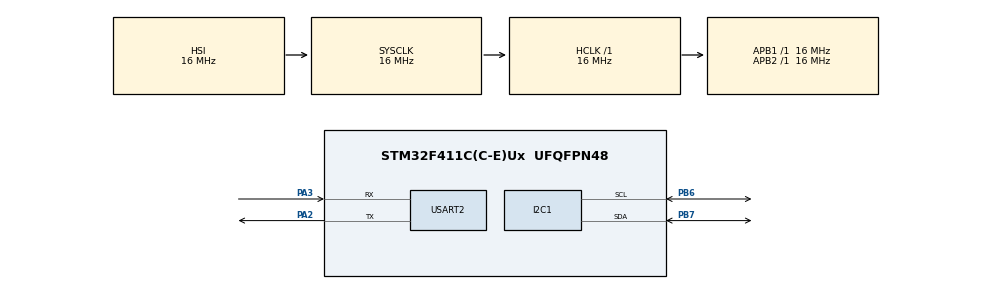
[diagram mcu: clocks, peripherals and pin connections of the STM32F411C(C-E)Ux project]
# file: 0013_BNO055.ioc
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Mcu.Family=STM32F4
Mcu.Name=STM32F411C(C-E)Ux
Mcu.Package=UFQFPN48
NVIC.PriorityGroup=NVIC_PRIORITYGROUP_4
PA2.Mode=Asynchronous
PA2.Signal=USART2_TX
PA3.Mode=Asynchronous
PA3.Signal=USART2_RX
PB6.GPIO_Pu=GPIO_PULLUP
PB6.Mode=I2C
PB6.Signal=I2C1_SCL
PB7.GPIO_Pu=GPIO_PULLUP
PB7.Mode=I2C
PB7.Signal=I2C1_SDA
ProjectManager.HeapSize=0x200
ProjectManager.StackSize=0x400
ProjectManager.TargetToolchain=STM32CubeIDE
RCC.AHBFreq_Value=16000000
RCC.APB1Freq_Value=16000000
RCC.APB1TimFreq_Value=16000000
RCC.APB2Freq_Value=16000000
RCC.APB2TimFreq_Value=16000000
RCC.CortexFreq_Value=16000000
RCC.HCLKFreq_Value=16000000
RCC.HSE_VALUE=25000000
RCC.HSI_VALUE=16000000
RCC.LSE_VALUE=32768
RCC.SYSCLKFreq_VALUE=16000000
RCC.VCOOutputFreq_Value=192000000
USART2.VirtualMode=VM_ASYNC
board=custom

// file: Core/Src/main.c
/* USER CODE BEGIN Header */
/**
  ******************************************************************************
  * @file           : main.c
  * @brief          : Main program body
  ******************************************************************************
  * @attention
  *
  * Copyright (c) 2026 STMicroelectronics.
  * All rights reserved.
  *
  * This software is licensed under terms that can be found in the LICENSE file
  * in the root directory of this software component.
  * If no LICENSE file comes with this software, it is provided AS-IS.
  *
  ******************************************************************************
  */
/* USER CODE END Header */
#include "main.h"

/* USER CODE BEGIN Includes */
#include <stdio.h>
#include <string.h>
/* USER CODE END Includes */

I2C_HandleTypeDef hi2c1;

UART_HandleTypeDef huart2;

/* USER CODE BEGIN PV */
uint8_t const BNO055Addr = 0X28;				 	//Address
uint8_t const BNO055I2CAddr = BNO055Addr << 1;	//Address
uint8_t const BNO055MemAddr = 0X00;				//Address
uint8_t BNO055IDValue = 0xA0;

uint8_t BNO055OprModeRegAddr = 0X3D;		//Address
uint8_t BNO055ConfigMode = 0X00;
uint8_t BNO055NDOFMode = 0X0C;

#define dataSize 6
uint8_t const BNO055EulerAnchorAddr = 0X1A;		//Address
uint8_t rawData[dataSize];
int16_t rawH, rawR, rawP;
float heading, roll, pitch;
char UART_Buffer[100];

uint8_t const resetCommandTrigRegAddr = 0X3F;
uint8_t resetCommand = 0X20;

uint8_t const callibrationStatusRegAddr = 0x35;
uint8_t callibrationByte = 0;
uint8_t const systemCallibrationLevel = 3;
uint8_t const gyroCallibrationLevel = 3;
uint8_t const magnetoCallibrationLevel = 2;
/* USER CODE END PV */

void SystemClock_Config(void);
static void MX_GPIO_Init(void);
static void MX_I2C1_Init(void);
static void MX_USART2_UART_Init(void);

/* USER CODE BEGIN 0 */
void BNO055Calibrate(void) {
    uint8_t sys = 0, gyro = 0, accel = 0, mag = 0;
    char cal_msg[100];

    uint32_t startTime = HAL_GetTick();
    uint32_t timeoutValue = 10000;

    // We wait until System and Gyroscope are fully calibrated (3)
    // and Magnetometer is at least partially calibrated (>0)
    while (sys < systemCallibrationLevel || gyro < gyroCallibrationLevel || mag < magnetoCallibrationLevel) {
        // Read Register 0x35
    	if ((HAL_GetTick() - startTime) > timeoutValue) {
    		sprintf(cal_msg, "!!! CALIBRATION TIMEOUT - Starting with partial data !!!\r\n");
    		HAL_UART_Transmit(&huart2, (uint8_t*)cal_msg, strlen(cal_msg), 100);
    		break; // Exit the while loop
    	        }

    	HAL_StatusTypeDef callibrationStatus = HAL_I2C_Mem_Read(&hi2c1, BNO055I2CAddr, callibrationStatusRegAddr, I2C_MEMADD_SIZE_8BIT, &callibrationByte, sizeof(callibrationByte), HAL_MAX_DELAY);
        if (callibrationStatus == HAL_OK) {

            // Bit masking to extract 2-bit values
            mag   = callibrationByte & 0x03;
            accel = (callibrationByte >> 2) & 0x03;
            gyro  = (callibrationByte >> 4) & 0x03;
            sys   = (callibrationByte >> 6) & 0x03;

            sprintf(cal_msg, "CALIBRATING... [S:%d G:%d A:%d M:%d] - DO THE DANCE!\r\n", sys, gyro, accel, mag);
            HAL_UART_Transmit(&huart2, (uint8_t*)cal_msg, strlen(cal_msg), HAL_MAX_DELAY);
        } else {
            sprintf(cal_msg, "I2C Error during calibration check!\r\n");
            HAL_UART_Transmit(&huart2, (uint8_t*)cal_msg, strlen(cal_msg), HAL_MAX_DELAY);
        }

        HAL_Delay(500); // Check every 500ms
    }

    sprintf(cal_msg, ">>> SENSOR CALIBRATED & READY <<<\r\n");
    HAL_UART_Transmit(&huart2, (uint8_t*)cal_msg, strlen(cal_msg), HAL_MAX_DELAY);
}
/* USER CODE END 0 */

int main(void)
{

  /* MCU Configuration--------------------------------------------------------*/

  /* Reset of all peripherals, Initializes the Flash interface and the Systick. */
  HAL_Init();

  /* Configure the system clock */
  SystemClock_Config();

  /* Initialize all configured peripherals */
  MX_GPIO_Init();
  MX_I2C1_Init();
  MX_USART2_UART_Init();
  /* USER CODE BEGIN 2 */

  uint8_t chipID = 0;
  char msg[50];

  HAL_StatusTypeDef Status = HAL_I2C_Mem_Read(&hi2c1, BNO055I2CAddr, BNO055MemAddr, I2C_MEMADD_SIZE_8BIT, &chipID, sizeof(chipID), HAL_MAX_DELAY);

  if (Status == HAL_OK && chipID == BNO055IDValue) {
	  sprintf(msg, "BNO055 Found! ID: 0x%02X\r\n", chipID);
  }
  else{
	  sprintf(msg, "BNO055 Not Found. Error or ID: 0x%02X\r\n", chipID);
  }

  HAL_UART_Transmit(&huart2, (uint8_t*)msg, strlen(msg), 100);
//  Entering the Config Mode
  HAL_I2C_Mem_Write(&hi2c1, BNO055I2CAddr, BNO055OprModeRegAddr, I2C_MEMADD_SIZE_8BIT, &BNO055ConfigMode, sizeof(BNO055ConfigMode), HAL_MAX_DELAY);
  HAL_Delay(20);		//Specific delay mentioned for Config Mode according to the BNO055 Data sheet
  uint8_t powerNormal = 0x00;
  HAL_I2C_Mem_Write(&hi2c1, BNO055I2CAddr, 0x3E, I2C_MEMADD_SIZE_8BIT, &powerNormal, 1, HAL_MAX_DELAY);
  HAL_Delay(10);
  HAL_I2C_Mem_Write(&hi2c1, BNO055I2CAddr, BNO055OprModeRegAddr, I2C_MEMADD_SIZE_8BIT, &BNO055NDOFMode, sizeof(BNO055NDOFMode), HAL_MAX_DELAY);
  HAL_Delay(10);		//Specific delay mentioned for NDOF Mode according to the BNO055 Data sheet

//  HAL_Delay(2000);

  BNO055Calibrate();
  //  BNO055 Callibration
  HAL_Delay(2000);
  /* USER CODE END 2 */

  /* Infinite loop */
  while (1)
  {

    /* USER CODE BEGIN 3 */
	  HAL_StatusTypeDef readStatus = HAL_I2C_Mem_Read(&hi2c1, BNO055I2CAddr, BNO055EulerAnchorAddr, I2C_MEMADD_SIZE_8BIT, rawData, dataSize, HAL_MAX_DELAY);
	  if(readStatus == HAL_OK){
		  rawH = (int16_t)((rawData[1] << 8) | rawData[0]);
		  rawR = (int16_t)((rawData[3] << 8) | rawData[2]);
		  rawP = (int16_t)((rawData[5] << 8) | rawData[4]);

		  heading = (float) rawH / 16.0f;
		  roll = (float) rawR / 16.0f;
		  pitch = (float) rawP / 16.0f;

		  sprintf(UART_Buffer, "H: %f | R: %f | P: %f\r\n", heading, roll, pitch);
		  HAL_UART_Transmit(&huart2, (uint8_t*)UART_Buffer, strlen(UART_Buffer), 10);
	  }
	  else {
	      // REINITIALIZATION LOGIC
	      sprintf(msg, "BNO055 Not Found. Attempting Reset...\r\n");
	      HAL_UART_Transmit(&huart2, (uint8_t*)msg, strlen(msg), 100);
	      HAL_Delay(200);

	      // Reinitializing I2C Peripheral
	      HAL_I2C_Init(&hi2c1);
	      // Write to SYS_TRIGGER (0x3F)
	      HAL_I2C_Mem_Write(&hi2c1, BNO055I2CAddr, resetCommandTrigRegAddr, I2C_MEMADD_SIZE_8BIT, &resetCommand, sizeof(resetCommand), 100);
	      // Critical Delay: The data sheet says wait 650ms after reset
	      HAL_Delay(700);

	      // Reinitializing config mode
	      HAL_I2C_Mem_Write(&hi2c1, BNO055I2CAddr, BNO055OprModeRegAddr, I2C_MEMADD_SIZE_8BIT, &BNO055ConfigMode, sizeof(BNO055ConfigMode), HAL_MAX_DELAY);
	      HAL_Delay(20);		//Specific delay mentioned for Config Mode according to the BNO055 Data sheet
	      HAL_I2C_Mem_Write(&hi2c1, BNO055I2CAddr, BNO055OprModeRegAddr, I2C_MEMADD_SIZE_8BIT, &BNO055NDOFMode, sizeof(BNO055NDOFMode), HAL_MAX_DELAY);
	      HAL_Delay(10);		//Specific delay mentioned for NDOF Mode according to the BNO055 Data sheet

	      // Second Attempt
	      HAL_StatusTypeDef status = HAL_I2C_Mem_Read(&hi2c1, BNO055I2CAddr, BNO055MemAddr, I2C_MEMADD_SIZE_8BIT, &chipID, 1, HAL_MAX_DELAY);

	      if (status == HAL_OK && chipID == BNO055IDValue) {
	          sprintf(msg, "BNO055 Recovered! ID: 0x%02X\r\n", chipID);
	      } else {
	          sprintf(msg, "BNO055 Hard Failure. Check Wiring/Power.\r\n");
	          // Optional: Stay here or enter Error_Handler()
	      }
	      HAL_UART_Transmit(&huart2, (uint8_t*)msg, strlen(msg), 100);
	  }

	  HAL_Delay(100);
  }
  /* USER CODE END 3 */
}

void SystemClock_Config(void)
{
  RCC_OscInitTypeDef RCC_OscInitStruct = {0};
  RCC_ClkInitTypeDef RCC_ClkInitStruct = {0};

  /** Configure the main internal regulator output voltage
  */
  __HAL_RCC_PWR_CLK_ENABLE();
  __HAL_PWR_VOLTAGESCALING_CONFIG(PWR_REGULATOR_VOLTAGE_SCALE1);

  /** Initializes the RCC Oscillators according to the specified parameters
  * in the RCC_OscInitTypeDef structure.
  */
  RCC_OscInitStruct.OscillatorType = RCC_OSCILLATORTYPE_HSI;
  RCC_OscInitStruct.HSIState = RCC_HSI_ON;
  RCC_OscInitStruct.HSICalibrationValue = RCC_HSICALIBRATION_DEFAULT;
  RCC_OscInitStruct.PLL.PLLState = RCC_PLL_NONE;
  if (HAL_RCC_OscConfig(&RCC_OscInitStruct) != HAL_OK)
  {
    Error_Handler();
  }

  /** Initializes the CPU, AHB and APB buses clocks
  */
  RCC_ClkInitStruct.ClockType = RCC_CLOCKTYPE_HCLK|RCC_CLOCKTYPE_SYSCLK
                              |RCC_CLOCKTYPE_PCLK1|RCC_CLOCKTYPE_PCLK2;
  RCC_ClkInitStruct.SYSCLKSource = RCC_SYSCLKSOURCE_HSI;
  RCC_ClkInitStruct.AHBCLKDivider = RCC_SYSCLK_DIV1;
  RCC_ClkInitStruct.APB1CLKDivider = RCC_HCLK_DIV1;
  RCC_ClkInitStruct.APB2CLKDivider = RCC_HCLK_DIV1;

  if (HAL_RCC_ClockConfig(&RCC_ClkInitStruct, FLASH_LATENCY_0) != HAL_OK)
  {
    Error_Handler();
  }
}

static void MX_I2C1_Init(void)
{

  hi2c1.Instance = I2C1;
  hi2c1.Init.ClockSpeed = 100000;
  hi2c1.Init.DutyCycle = I2C_DUTYCYCLE_2;
  hi2c1.Init.OwnAddress1 = 0;
  hi2c1.Init.AddressingMode = I2C_ADDRESSINGMODE_7BIT;
  hi2c1.Init.DualAddressMode = I2C_DUALADDRESS_DISABLE;
  hi2c1.Init.OwnAddress2 = 0;
  hi2c1.Init.GeneralCallMode = I2C_GENERALCALL_DISABLE;
  hi2c1.Init.NoStretchMode = I2C_NOSTRETCH_DISABLE;
  if (HAL_I2C_Init(&hi2c1) != HAL_OK)
  {
    Error_Handler();
  }

}

static void MX_USART2_UART_Init(void)
{

  huart2.Instance = USART2;
  huart2.Init.BaudRate = 115200;
  huart2.Init.WordLength = UART_WORDLENGTH_8B;
  huart2.Init.StopBits = UART_STOPBITS_1;
  huart2.Init.Parity = UART_PARITY_NONE;
  huart2.Init.Mode = UART_MODE_TX_RX;
  huart2.Init.HwFlowCtl = UART_HWCONTROL_NONE;
  huart2.Init.OverSampling = UART_OVERSAMPLING_16;
  if (HAL_UART_Init(&huart2) != HAL_OK)
  {
    Error_Handler();
  }

}

static void MX_GPIO_Init(void)
{

  /* GPIO Ports Clock Enable */
	GPIO_InitTypeDef GPIO_InitStruct = {0};
	  // Configure I2C1 Pins: PB6 (SCL) and PB7 (SDA)
	  GPIO_InitStruct.Pin = GPIO_PIN_6|GPIO_PIN_7;
	  GPIO_InitStruct.Mode = GPIO_MODE_AF_OD;      // Alternate Function Open Drain
	  GPIO_InitStruct.Pull = GPIO_PULLUP;
	  GPIO_InitStruct.Speed = GPIO_SPEED_FREQ_VERY_HIGH;
	  GPIO_InitStruct.Alternate = GPIO_AF4_I2C1;  // AF4 is I2C for F411
	  HAL_GPIO_Init(GPIOB, &GPIO_InitStruct);
}

void Error_Handler(void)
{
  __disable_irq();
  while (1)
  {
  }
}
